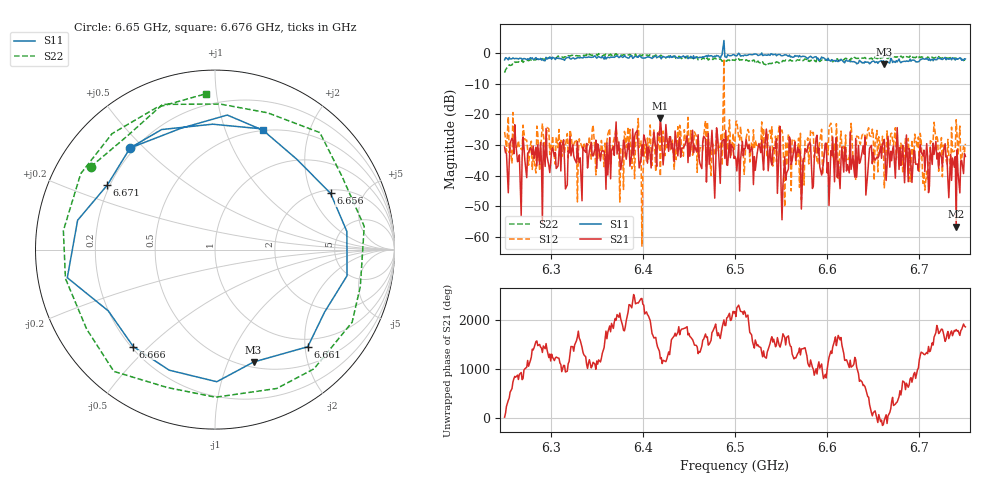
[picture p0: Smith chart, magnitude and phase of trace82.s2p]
# Hz S RI R 50
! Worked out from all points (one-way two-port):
!   401 points, 6.25 GHz to 6.75 GHz, reference 50 ohm
!   highest |S21| = -21.25 dB at 6.419 GHz (marker M1); lowest = -56.6 dB at 6.74 GHz (marker M2)
!   lowest |S11| = -3.6 dB at 6.662 GHz (marker M3), VSWR 4.92, Z = 27.8 - j62.1 ohm
!   |S11| at or under -10 dB: nowhere
!   |S22| runs from -6.4 to -0.2 dB; largest |S21 - S12| = 0.84
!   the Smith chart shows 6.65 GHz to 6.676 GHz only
!   S11 on the Smith chart (normalised r, x): 6.65 GHz: 0.18, +0.46; 6.656 GHz: 2.17, +2.79; 6.661 GHz: 0.84, -2.06; 6.666 GHz: 0.21, -0.45; 6.671 GHz: 0.19, +0.27; 6.676 GHz: 0.49, +1.36
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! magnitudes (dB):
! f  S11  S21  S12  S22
! 6.25 GHz  -2.2  -30.7  -25.7  -6.4
! 6.334 GHz  -1.6  -48.2  -30.8  -0.6
! 6.395 GHz  -1.4  -31.8  -21.4  -0.8
! 6.401 GHz  -1.7  -26.7  -35.1  -0.6
! 6.418 GHz  -1.0  -26.8  -25.5  -1.3
! 6.419 GHz  -1.3  -21.3  -40.2  -0.8
! 6.5 GHz  -0.8  -33.7  -29.1  -2.4
! 6.55 GHz  -0.8  -44.0  -25.2  -2.9
! 6.572 GHz  -1.2  -50.9  -47.8  -2.5
! 6.584 GHz  -1.6  -44.2  -26.1  -2.3
! 6.65 GHz  -2.6  -32.5  -26.3  -1.6
! 6.656 GHz  -2.9  -33.7  -27.3  -1.2
! 6.661 GHz  -2.5  -29.2  -29.3  -1.3
! 6.662 GHz  -3.6  -28.2  -44.0  -1.3
! 6.666 GHz  -3.0  -27.2  -31.6  -1.8
! 6.668 GHz  -3.3  -37.2  -30.5  -1.1
! 6.671 GHz  -3.1  -31.6  -28.4  -1.4
! 6.676 GHz  -2.9  -24.3  -30.7  -1.2
! 6.706 GHz  -2.0  -38.7  -44.7  -1.4
! 6.716 GHz  -2.0  -33.1  -22.6  -1.7
! 6.74 GHz  -1.9  -56.6  -21.7  -1.6
! 6.75 GHz  -2.0  -33.8  -29.6  -2.7
